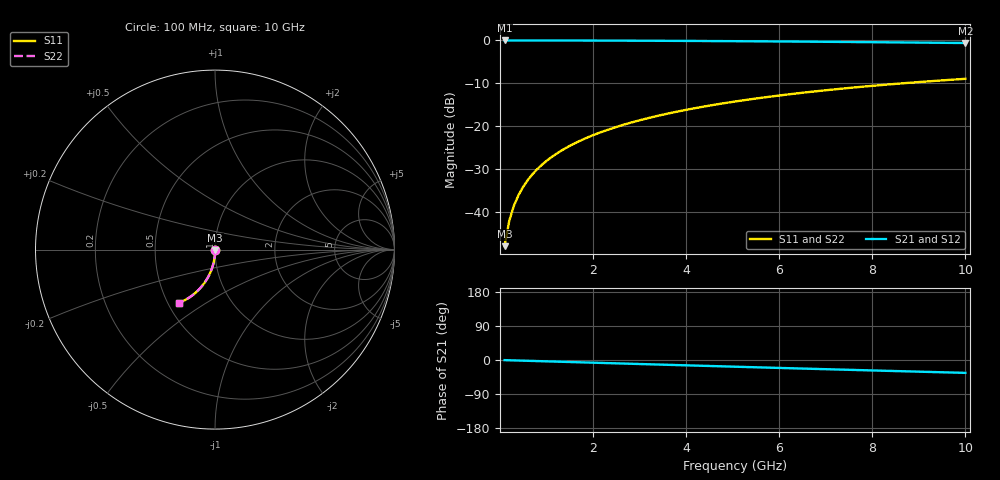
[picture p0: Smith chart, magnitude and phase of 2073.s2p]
# Hz S RI R 50.00
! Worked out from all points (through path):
!   100 points, 100 MHz to 10 GHz, reference 50 ohm
!   highest |S21| = -0.01 dB at 100 MHz (marker M1); lowest = -0.6 dB at 10 GHz (marker M2)
!   group delay of S21, straight-line fit = 9.46 ps
!   lowest |S11| = -48.0 dB at 100 MHz (marker M3), VSWR 1.01, Z = 50.1 - j0.395 ohm
!   |S11| at or under -10 dB: start of sweep to 8.652 GHz
!   |S22| runs from -48.0 to -9.0 dB; largest |S21 - S12| = 0
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1e8  0.000611 -0.00395  0.9993 -0.00617  0.9993 -0.00617  0.000611 -0.00395
2e8  0.000538 -0.00789  0.9992 -0.0123  0.9992 -0.0123  0.000538 -0.00789
3e8  0.000414 -0.0118  0.9991 -0.0185  0.9991 -0.0185  0.000414 -0.0118
4e8  0.000242 -0.0158  0.9989 -0.0247  0.9989 -0.0247  0.000242 -0.0158
5e8  2e-05 -0.0197  0.9987 -0.0308  0.9987 -0.0308  2e-05 -0.0197
6e8  -0.00025 -0.0237  0.9983 -0.037  0.9983 -0.037  -0.00025 -0.0237
7e8  -0.000569 -0.0276  0.998 -0.0431  0.998 -0.0431  -0.000569 -0.0276
8e8  -0.000937 -0.0315  0.9976 -0.0493  0.9976 -0.0493  -0.000937 -0.0315
9e8  -0.00135 -0.0354  0.9971 -0.0554  0.9971 -0.0554  -0.00135 -0.0354
1.1e9  -0.00233 -0.0433  0.996 -0.0677  0.996 -0.0677  -0.00233 -0.0433
1.4e9  -0.00415 -0.0549  0.994 -0.0861  0.994 -0.0861  -0.00415 -0.0549
1.8e9  -0.00725 -0.0704  0.9906 -0.1104  0.9906 -0.1104  -0.00725 -0.0704
2.1e9  -0.0101 -0.0818  0.9875 -0.1285  0.9875 -0.1285  -0.0101 -0.0818
2.5e9  -0.0145 -0.0969  0.9826 -0.1525  0.9826 -0.1525  -0.0145 -0.0969
2.9e9  -0.0196 -0.1117  0.977 -0.1762  0.977 -0.1762  -0.0196 -0.1117
3.4e9  -0.027 -0.1297  0.9688 -0.2054  0.9688 -0.2054  -0.027 -0.1297
4.2e9  -0.0409 -0.1574  0.9533 -0.251  0.9533 -0.251  -0.0409 -0.1574
5.1e9  -0.0595 -0.1865  0.9325 -0.3002  0.9325 -0.3002  -0.0595 -0.1865
5.9e9  -0.0784 -0.2103  0.9114 -0.342  0.9114 -0.342  -0.0784 -0.2103
6.7e9  -0.0992 -0.2319  0.888 -0.3817  0.888 -0.3817  -0.0992 -0.2319
8.4e9  -0.1485 -0.2702  0.8321 -0.4585  0.8321 -0.4585  -0.1485 -0.2702
1e10  -0.199 -0.2962  0.7738 -0.521  0.7738 -0.521  -0.199 -0.2962
